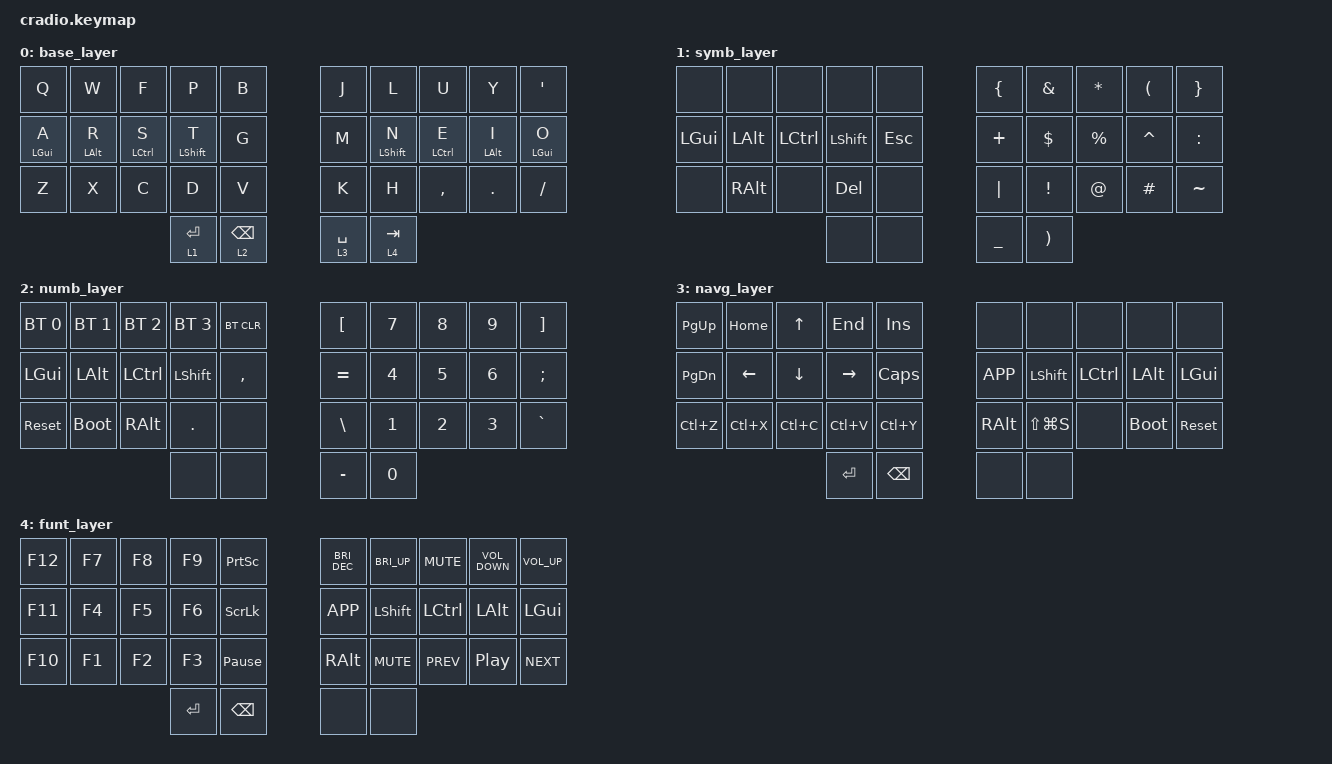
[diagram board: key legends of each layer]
#include <behaviors.dtsi>
#include <dt-bindings/zmk/keys.h>
#include <dt-bindings/zmk/bt.h>

#include "zmk-helpers/helper.h"
#include "zmk-helpers/key-labels/34.h"

/*                              34 KEY MATRIX / LAYOUT MAPPING

  ╭────────────────────┬────────────────────╮ ╭─────────────────────┬─────────────────────╮
  │  0   1   2   3   4 │  5   6   7   8   9 │ │ LT4 LT3 LT2 LT1 LT0 │ RT0 RT1 RT2 RT3 RT4 │
  │ 10  11  12  13  14 │ 15  16  17  18  19 │ │ LM4 LM3 LM2 LM1 LM0 │ RM0 RM1 RM2 RM3 RM4 │
  │ 20  21  22  23  24 │ 25  26  27  28  29 │ │ LB4 LB3 LB2 LB1 LB0 │ RB0 RB1 RB2 RB3 RB4 │
  ╰───────────╮ 30  31 │ 32  33 ╭───────────╯ ╰───────────╮ LH1 LH0 │ RH0 RH1 ╭───────────╯
              ╰────────┴────────╯                         ╰─────────┴─────────╯             */

// adjust mod-tap
&mt {
    flavor = "tap-preferred";
    tapping_term_ms = <300>;
};

/ {
    combos {
        compatible = "zmk,combos";
        combo_esc {
            timeout-ms = <50>;
            key-positions = <1 2>;
            bindings = <&kp ESC>;
         };
        combo_bspc {
            timeout-ms = <50>;
            key-positions = <7 8>;
            bindings = <&kp BSPC>;
        };
        combo_dot_comma {
            timeout-ms = <50>;
            key-positions = <27 28>;
            bindings = <&kp SEMICOLON>;
        };
        combo_del {
            timeout-ms = <50>;
            key-positions = <8 9>;
            bindings = <&kp DEL>;
        };
    };


    conditional_layers {
        compatible = "zmk,conditional-layers";
        cond_layer_mgmt {
            if-layers = <1 4>;
            then-layer = <5>;
        };
    };


    keymap {
        compatible = "zmk,keymap";

        base_layer {
            bindings = <
            //╭──────────┬──────────┬──────────┬──────────┬──────────╮   ╭──────────┬──────────┬──────────┬──────────┬──────────╮
            //│  Q       │  W       │  F       │  P       │  B       │   │  J       │  L       │  U       │  Y       │  ' "     │
                &kp Q      &kp W      &kp F      &kp P      &kp B          &kp J      &kp L      &kp U      &kp Y      &kp APOS
            //├──────────┼──────────┼──────────┼──────────┼──────────┤   ├──────────┼──────────┼──────────┼──────────┼──────────┤
            //│  A       │  R       │  S       │  T       │  G       │   │  M       │  N       │  E       │  I       │  O       │
                &mt LGUI A &mt LALT R &mt LCTRL S &mt LSHFT T &kp G         &kp M      &mt LSHFT N &mt LCTRL E &mt LALT I &mt LGUI O
            //├──────────┼──────────┼──────────┼──────────┼──────────┤   ├──────────┼──────────┼──────────┼──────────┼──────────┤
            //│  Z       │  X       │  C       │  D       │  V       │   │  K       │  H       │ , <      │ . >      │ / ?      │
                &kp Z      &kp X       &kp C      &kp D      &kp V          &kp K      &kp H    &kp COMMA  &kp PERIOD &kp SLASH
            //╰──────────┴──────────┴──────────┼──────────┼──────────┤   ├──────────┼──────────┼──────────┴──────────┴──────────╯
                                                &lt 1 ENTER  &lt 2 BSPC       &lt 3 SPACE  &lt 4 TAB
            //                                 ╰──────────┴──────────╯   ╰──────────┴──────────╯
            >;
        };

        symb_layer {
            bindings = <
            //╭──────────┬──────────┬──────────┬──────────┬──────────╮   ╭──────────┬──────────┬──────────┬──────────┬──────────╮
            //│          │          │          │          │          │   │  [ {     │  &       │  *       │  (       │   ] }    │
                 &none      &none      &none      &none      &none         &kp LBRC   &kp AMPS   &kp ASTRK  &kp LPAR   &kp RBRC
            //├──────────┼──────────┼──────────┼──────────┼──────────┤   ├──────────┼──────────┼──────────┼──────────┼──────────┤
            //│  GUI     │  ALT     │  CTRL    │  SHIFT   │  ESC     │   │  +       │  $       │  %       │  ^       │  :      │
                &kp LGUI   &kp LALT   &kp LCTRL  &kp LSHFT  &kp ESC         &kp PLUS   &kp DLLR   &kp PRCNT  &kp CARET  &kp COLON
            //├──────────┼──────────┼──────────┼──────────┼──────────┤   ├──────────┼──────────┼──────────┼──────────┼──────────┤
            //│          │  RALT    │          │    DEL   │          │   │  |       │  !       │  @       │  #       │   ~      │
                 &none      &kp RALT   &none     &kp DEL    &none         &kp PIPE   &kp EXCL   &kp AT     &kp HASH   &kp TILDE
            //╰──────────┴──────────┴──────────┼──────────┼──────────┤   ├──────────┼──────────┼──────────┴──────────┴──────────╯
                                                &none      &none          &kp UNDER  &kp RPAR
            //                                 ╰──────────┴──────────╯   ╰──────────┴──────────╯
            >;
        };

        numb_layer {
            bindings = <
            //╭──────────┬──────────┬──────────┬──────────┬──────────╮   ╭──────────┬──────────┬──────────┬──────────┬──────────╮
            //│PROFILE 0 │PROFILE 1 │PROFILE 2 │PROFILE 3 │ CLEAR BT │   │  [       │  7       │  8       │  9       │  ]      │
            &bt BT_SEL 0 &bt BT_SEL 1 &bt BT_SEL 2 &bt BT_SEL 3 &bt BT_CLR &kp LBKT   &kp N7     &kp N8     &kp N9     &kp RBKT
            //├──────────┼──────────┼──────────┼──────────┼──────────┤   ├──────────┼──────────┼──────────┼──────────┼──────────┤
            //│  GUI     │  ALT     │  CTRL    │  SHIFT   │  , <     │   │  =       │  4       │  5       │  6       │  ;      │
                &kp LGUI   &kp LALT   &kp LCTRL  &kp LSHFT  &kp COMMA      &kp EQUAL  &kp N4     &kp N5     &kp N6     &kp SCLN
            //├──────────┼──────────┼──────────┼──────────┼──────────┤   ├──────────┼──────────┼──────────┼──────────┼──────────┤
            //│  RESET   │Bootloader│   RALT   │  . >     │          │   │  \       │  1       │  2       │  3       │  `      │
               &sys_reset   &bootloader  &kp RALT  &kp PERIOD &none          &kp BSLH   &kp N1     &kp N2     &kp N3     &kp GRAVE
            //╰──────────┴──────────┴──────────┼──────────┼──────────┤   ├──────────┼──────────┼──────────┴──────────┴──────────╯
                                                &none      &none          &kp MINUS  &kp N0
            //                                 ╰──────────┴──────────╯   ╰──────────┴──────────╯
            >;
        };

        navg_layer {
            bindings = <
                //╭──────────┬──────────┬──────────┬──────────┬──────────╮   ╭──────────┬──────────┬──────────┬──────────┬──────────╮
                //│ PG UP    │ HOME     │ UP       │ END      │ INS      │   │          │          │          │          │          │
                &kp PG_UP  &kp HOME   &kp UP     &kp END    &kp INS              &none      &none      &none      &none      &none
                //├──────────┼──────────┼──────────┼──────────┼──────────┤   ├──────────┼──────────┼──────────┼──────────┼──────────┤
                //│ PG DN    │ LEFT     │ DOWN     │ RIGHT    │ CAPS     │   │ K_APP    │ SHIFT    │ CTRL     │ ALT      │ GUI      │
                &kp PG_DN  &kp LEFT   &kp DOWN   &kp RIGHT  &kp CAPS       &kp K_APP  &kp LSHFT  &kp LCTRL  &kp LALT   &kp LGUI
                //├──────────┼──────────┼──────────┼──────────┼──────────┤   ├──────────┼──────────┼──────────┼──────────┼──────────┤
                //│ LCTRL(Z) │ LCTRL(X) │ LCTRL(C) │ LCTRL(V) │ LCTRL(Y) │   │          │LSHFT(LGUI(S))│      │bootloader│ RESET
                &kp LC(Z)  &kp LC(X)  &kp LC(C)  &kp LC(V)  &kp LC(Y)       &kp RALT      &kp LS(LG(S)) &none  &bootloader &sys_reset
                //╰──────────┴──────────┴──────────┼──────────┼──────────┤   ├──────────┼──────────┼──────────┴──────────┴──────────╯
                                                    &kp ENTER  &kp BSPC       &none      &none
                //                                 ╰──────────┴──────────╯   ╰──────────┴──────────╯
            >;
        };

        funt_layer {
            bindings = <
            //╭──────────┬──────────┬──────────┬──────────┬──────────╮   ╭──────────┬──────────┬──────────┬──────────┬──────────╮
            //│  F12     │  F7      │  F8      │  F9      │  PSCRN   │   │          │          │          │          │          │
                &kp F12    &kp F7     &kp F8     &kp F9     &kp PSCRN    &kp C_BRI_DEC &kp C_BRI_UP &kp C_MUTE &kp C_VOLUME_DOWN &kp C_VOLUME_UP
            //├──────────┼──────────┼──────────┼──────────┼──────────┤   ├──────────┼──────────┼──────────┼──────────┼──────────┤
            //│  F11     │  F4      │  F5      │  F6      │  SLCK    │   │  K_APP   │  SHIFT   │  CTRL    │  ALT     │  GUI    │
                &kp F11    &kp F4     &kp F5     &kp F6     &kp SLCK       &kp K_APP  &kp LSHFT  &kp LCTRL  &kp LALT   &kp LGUI
            //├──────────┼──────────┼──────────┼──────────┼──────────┤   ├──────────┼──────────┼──────────┼──────────┼──────────┤
            //│  F10     │  F1      │  F2      │  F3      │  PAUSE   │   │  RALT    │  K_MUTE  │          │play/pause│          │
                &kp F10    &kp F1     &kp F2     &kp F3 &kp PAUSE_BREAK    &kp RALT  &kp K_MUTE &kp C_PREV &kp C_PP  &kp C_NEXT
            //╰──────────┴──────────┴──────────┼──────────┼──────────┤   ├──────────┼──────────┼──────────┴──────────┴──────────╯
                                                &kp ENTER  &kp BSPC      &none      &none
            //                                 ╰──────────┴──────────╯   ╰──────────┴──────────╯
            >;
        };
    };    
};
